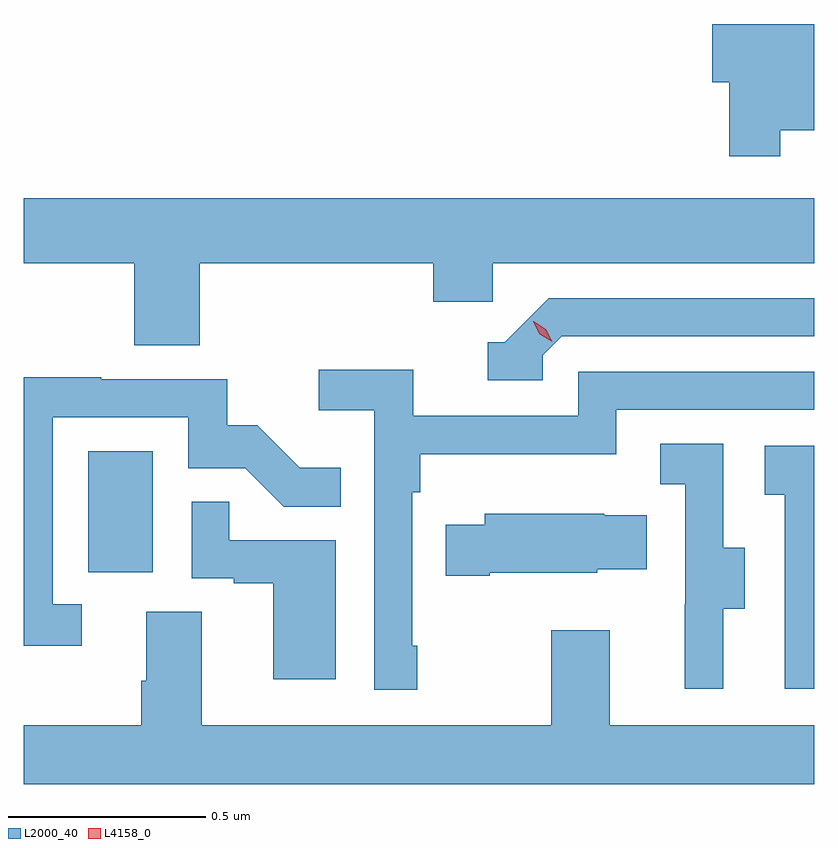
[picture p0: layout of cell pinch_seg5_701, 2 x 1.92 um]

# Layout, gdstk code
import gdstk
lib = gdstk.Library(unit=1e-6, precision=1e-09)
def R(c, l, rs):  # rectangles x0, y0, x1, y1
    for r in rs: c.add(gdstk.rectangle(r[:2], r[2:], *l))
def P(c, l, *ps):  # polygons
    for p in ps: c.add(gdstk.Polygon(p, *l))
L2000_40 = (2000, 40)
L4158_0 = (4158, 0)

pinch_seg5_701 = lib.new_cell('pinch_seg5_701')
R(pinch_seg5_701, L2000_40, [(1127.912,833.334,1128.076,833.641)])
P(pinch_seg5_701, L2000_40, [(1129.663,834.452),(1129.749,834.452),(1129.749,834.721),(1129.49,834.721),(1129.49,834.574),(1129.534,834.574),(1129.534,834.387),(1129.663,834.387)],
  [(1128.194,834.116),(1128.785,834.116),(1128.785,834.018),(1128.936,834.018),(1128.936,834.116),(1129.749,834.116),(1129.749,834.28),(1127.749,834.28),(1127.749,834.116),(1128.029,834.116),(1128.029,833.908),(1128.194,833.908)],
  [(1129.062,833.883),(1129.11,833.931),(1129.749,833.931),(1129.749,834.027),(1129.077,834.027),(1128.966,833.916),(1128.923,833.916),(1128.923,833.82),(1129.062,833.82)],
  [(1128.745,833.149),(1128.732,833.149),(1128.732,833.537),(1128.752,833.537),(1128.752,833.633),(1129.248,833.633),(1129.248,833.745),(1129.749,833.745),(1129.749,833.841),(1129.152,833.841),(1129.152,833.73),(1128.734,833.73),(1128.734,833.846),(1128.495,833.846),(1128.495,833.744),(1128.636,833.744),(1128.636,833.037),(1128.745,833.037)],
  [(1127.896,833.253),(1127.823,833.253),(1127.823,833.727),(1128.165,833.727),(1128.165,833.598),(1128.309,833.598),(1128.407,833.5),(1128.551,833.5),(1128.551,833.599),(1128.447,833.599),(1128.34,833.706),(1128.264,833.706),(1128.264,833.823),(1127.945,833.823),(1127.945,833.828),(1127.749,833.828),(1127.749,833.148),(1127.896,833.148)],
  [(1129.519,833.242),(1129.573,833.242),(1129.573,833.397),(1129.518,833.397),(1129.518,833.66),(1129.359,833.66),(1129.359,833.557),(1129.422,833.557),(1129.422,833.253),(1129.421,833.253),(1129.421,833.04),(1129.519,833.04)],
  [(1129.749,833.655),(1129.623,833.655),(1129.623,833.531),(1129.674,833.531),(1129.674,833.04),(1129.749,833.04)],
  [(1128.538,833.415),(1128.269,833.415),(1128.269,833.513),(1128.174,833.513),(1128.174,833.319),(1128.281,833.319),(1128.281,833.307),(1128.38,833.307),(1128.38,833.064),(1128.538,833.064)],
  [(1128.928,833.333),(1129.2,833.333),(1129.2,833.342),(1129.325,833.342),(1129.325,833.479),(1129.217,833.479),(1129.217,833.482),(1128.915,833.482),(1128.915,833.455),(1128.817,833.455),(1128.817,833.326),(1128.928,833.326)],
  [(1129.749,832.948),(1129.231,832.948),(1129.231,833.188),(1129.084,833.188),(1129.084,832.948),(1128.199,832.948),(1128.199,833.234),(1128.059,833.234),(1128.059,833.06),(1128.047,833.06),(1128.047,832.948),(1127.749,832.948),(1127.749,832.799),(1129.749,832.799)])
P(pinch_seg5_701, L4158_0, [(1129.086,833.917),(1129.055,833.936),(1129.038,833.968),(1129.038,833.969),(1129.039,833.969),(1129.069,833.949),(1129.086,833.917),(1129.086,833.917)])

lib.write_gds('pinch_seg5_701.gds')
